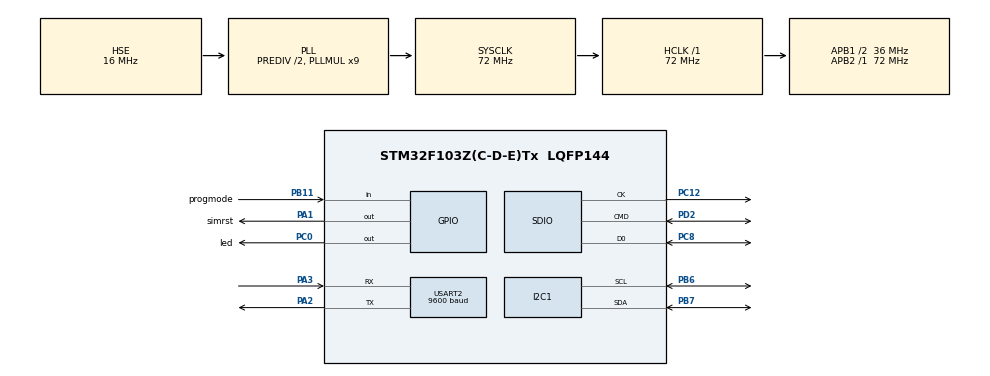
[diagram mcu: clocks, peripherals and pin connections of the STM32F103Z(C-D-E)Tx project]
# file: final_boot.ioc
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Dma.Request0=USART2_RX
Dma.Request1=USART2_TX
Dma.USART2_RX.0.Direction=DMA_PERIPH_TO_MEMORY
Dma.USART2_RX.0.Instance=DMA1_Channel6
Dma.USART2_RX.0.MemDataAlignment=DMA_MDATAALIGN_BYTE
Dma.USART2_RX.0.MemInc=DMA_MINC_ENABLE
Dma.USART2_RX.0.Mode=DMA_NORMAL
Dma.USART2_RX.0.PeriphDataAlignment=DMA_PDATAALIGN_BYTE
Dma.USART2_RX.0.PeriphInc=DMA_PINC_DISABLE
Dma.USART2_RX.0.Priority=DMA_PRIORITY_VERY_HIGH
Dma.USART2_TX.1.Direction=DMA_MEMORY_TO_PERIPH
Dma.USART2_TX.1.Instance=DMA1_Channel7
Dma.USART2_TX.1.MemDataAlignment=DMA_MDATAALIGN_BYTE
Dma.USART2_TX.1.MemInc=DMA_MINC_ENABLE
Dma.USART2_TX.1.Mode=DMA_NORMAL
Dma.USART2_TX.1.PeriphDataAlignment=DMA_PDATAALIGN_BYTE
Dma.USART2_TX.1.PeriphInc=DMA_PINC_DISABLE
Dma.USART2_TX.1.Priority=DMA_PRIORITY_VERY_HIGH
FATFS._FS_TIMEOUT=1000000
FATFS._MAX_SS=4096
IWDG.Prescaler=IWDG_PRESCALER_256
Mcu.Family=STM32F1
Mcu.Name=STM32F103Z(C-D-E)Tx
Mcu.Package=LQFP144
NVIC.DMA1_Channel6_IRQn=true\:0\:0\:false\:false\:true\:false\:true
NVIC.DMA1_Channel7_IRQn=true\:0\:0\:false\:false\:true\:false\:true
NVIC.PriorityGroup=NVIC_PRIORITYGROUP_4
NVIC.USART2_IRQn=true\:0\:0\:false\:false\:true\:true\:true
OSC_IN.Mode=HSE-External-Oscillator
OSC_IN.Signal=RCC_OSC_IN
OSC_OUT.Mode=HSE-External-Oscillator
OSC_OUT.Signal=RCC_OSC_OUT
PA1.GPIO_Label=simrst
PA1.GPIO_PuPd=GPIO_PULLDOWN
PA1.GPIO_Speed=GPIO_SPEED_FREQ_HIGH
PA1.Signal=GPIO_Output
PA13.Mode=JTAG_5_pins
PA13.Signal=SYS_JTMS-SWDIO
PA14.Mode=JTAG_5_pins
PA14.Signal=SYS_JTCK-SWCLK
PA15.Mode=JTAG_5_pins
PA15.Signal=SYS_JTDI
PA2.Mode=Asynchronous
PA2.Signal=USART2_TX
PA3.Mode=Asynchronous
PA3.Signal=USART2_RX
PB11.GPIO_Label=progmode
PB11.Signal=GPIO_Input
PB3.Mode=JTAG_5_pins
PB3.Signal=SYS_JTDO-TRACESWO
PB4.Mode=JTAG_5_pins
PB4.Signal=SYS_NJTRST
PB6.Mode=I2C
PB6.Signal=I2C1_SCL
PB7.Mode=I2C
PB7.Signal=I2C1_SDA
PC0.GPIO_Label=led
PC0.GPIO_Speed=GPIO_SPEED_FREQ_HIGH
PC0.Signal=GPIO_Output
PC12.Mode=SD_1_bit
PC12.Signal=SDIO_CK
PC8.Mode=SD_1_bit
PC8.Signal=SDIO_D0
PD2.Mode=SD_1_bit
PD2.Signal=SDIO_CMD
ProjectManager.HeapSize=0xFF0
ProjectManager.StackSize=0xFF0
ProjectManager.TargetToolchain=MDK-ARM V5.32
RCC.AHBFreq_Value=72000000
RCC.APB1CLKDivider=RCC_HCLK_DIV2
RCC.APB1Freq_Value=36000000
RCC.APB1TimFreq_Value=72000000
RCC.APB2Freq_Value=72000000
RCC.APB2TimFreq_Value=72000000
RCC.EnbaleCSS=true
RCC.HCLKFreq_Value=72000000
RCC.HSEDivPLL=RCC_HSE_PREDIV_DIV2
RCC.HSE_VALUE=16000000
RCC.PLLMUL=RCC_PLL_MUL9
RCC.PLLSourceVirtual=RCC_PLLSOURCE_HSE
RCC.SYSCLKFreq_VALUE=72000000
RCC.SYSCLKSource=RCC_SYSCLKSOURCE_PLLCLK
RCC.USBFreq_Value=72000000
SDIO.ClockDiv=7
SDIO.ClockEdge=SDIO_CLOCK_EDGE_RISING
USART2.BaudRate=9600
USART2.VirtualMode=VM_ASYNC
VP_FATFS_VS_SDIO.Mode=SDIO
VP_IWDG_VS_IWDG.Mode=IWDG_Activate
board=custom

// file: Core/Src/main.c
/* USER CODE BEGIN Header */
/**
  ******************************************************************************
  * @file           : main.c
  * @brief          : Main program body
  ******************************************************************************
  * @attention
  *
  * <h2><center>&copy; Copyright (c) 2021 STMicroelectronics.
  * All rights reserved.</center></h2>
  *
  * This software component is licensed by ST under Ultimate Liberty license
  * SLA0044, the "License"; You may not use this file except in compliance with
  * the License. You may obtain a copy of the License at:
  *                             www.st.com/SLA0044
  *
  ******************************************************************************
  */
/* USER CODE END Header */
#include "main.h"
#include "fatfs.h"

/* USER CODE BEGIN Includes */
#include <String.h>
#include <Stdio.h>
#include <Stdint.h>

#include "sim.h"
#include "lcd.h"
#include "zcrypt.h"
/* USER CODE END Includes */

/* USER CODE BEGIN PM */
FATFS fs;  // Fatfs
FIL fil1;
FIL fil2;
FILINFO fno;
FRESULT fresult;
UINT b;
/* USER CODE END PM */

I2C_HandleTypeDef hi2c1;

IWDG_HandleTypeDef hiwdg;

SD_HandleTypeDef hsd;

UART_HandleTypeDef huart2;
DMA_HandleTypeDef hdma_usart2_rx;
DMA_HandleTypeDef hdma_usart2_tx;

/* USER CODE BEGIN PV */
static FLASH_EraseInitTypeDef EraseInitStruct;	//flash working
uint64_t gAddress	=	0x0800C800;

uint8_t gTxBuf		[TxBuf_SIZE];	//USART-SIM
uint8_t gRxBuf		[RxBuf_SIZE];
uint8_t gMainBuf	[MainBuf_SIZE];

uint16_t gOldPos;
uint16_t gNewPos;

char gName[4]={0,0,0,0};	//version name

static uint32_t gTimerError	=	0; //

static uint8_t gCounterOk		=	0;
static uint8_t gCounterBad	=	0;

static uint16_t gLinesCounter	=	0;

/* USER CODE END PV */

void SystemClock_Config(void);
static void MX_GPIO_Init(void);
static void MX_IWDG_Init(void);
static void MX_DMA_Init(void);
static void MX_SDIO_SD_Init(void);
static void MX_USART2_UART_Init(void);
static void MX_I2C1_Init(void);

/* USER CODE BEGIN 0 */
FRESULT mount_SD (void)
{
	return f_mount(&fs, "a", 1);
}

FRESULT unmount_SD (void)
{
	return f_mount(NULL, "a", 1);
}

FRESULT open_File(char* name,int i)
{
	if(i==1)
	{
		return f_open(&fil1,name,FA_WRITE|FA_READ|FA_OPEN_EXISTING);
	}
	else
	{
		return f_open(&fil2,name,FA_WRITE|FA_READ|FA_OPEN_EXISTING);
	}
}

FRESULT close_File(int i)
{
	if(i==1)
	{
		return f_close(&fil1);
	}
	else
	{
		return f_close(&fil2);
	}
}

FRESULT read_File(void* data,int j,int i)
{
	if(i==1)
	{
		return f_read(&fil1, data, j,&b);
	}
	else
	{
		return f_read(&fil2, data, j,&b);
	}
}

FRESULT create_File(char* name,int i)
{
	if(i==1)
	{
		return f_open(&fil1, name,FA_CREATE_ALWAYS|FA_WRITE|FA_READ);
	}
	else
	{
		return f_open(&fil2, name,FA_CREATE_ALWAYS|FA_WRITE|FA_READ);
	}
}

void gets_File(void* buff,int i)
{
	if(i==1)
	{
		f_gets((char*)buff,100,&fil1);
		return;
	}
	if(i==2)
	{
		f_gets((char*)buff,100,&fil2);
		return;
	}
}

FRESULT write_File (void *data,int j,int i)
{
	if(i==1)
	{
		fresult = f_write(&fil1, data, j, &b);
		if(fresult==FR_OK)
		{

			return f_sync(&fil1);
		}
		else
		{
			return fresult;
		}
	}
	else
	{
		fresult = f_write(&fil2, data, j, &b);
		if(fresult==FR_OK)
		{

			return f_sync(&fil2);
		}
		else
		{
			return fresult;
		}
	}
}

FRESULT set_point_File(DWORD ofs,int i)
{
	if(i==1)
	{
		return f_lseek(&fil1,ofs);
	}
	else
	{
		return f_lseek(&fil2,ofs);
	}
}

int get_point_File(int i)
{
	if(i==1)
	{
		return (&fil1)->fptr;
	}
	else
	{
		return (&fil2)->fptr;
	}
}

FRESULT truncate_File(DWORD ofs,int i)
{
	if(i==1)
	{
		return f_truncate(&fil1);
	}
	else
	{
		return f_truncate(&fil2);
	}
}
int get_eof_File(int i)
{
	if(i==1)
	{
		int po=get_point_File(1);
		int js=po;
		while(f_eof(&fil1)==0)
		{
			set_point_File(++js,1);
		}
		set_point_File(po,1);
		return js;
	}
	else
	{
		int po=get_point_File(2);
		int js=po;
		while(f_eof(&fil2)==0)
		{
			set_point_File(++js,2);
		}
		set_point_File(po,2);
		return js;
	}
}

void HAL_UARTEx_RxEventCallback(UART_HandleTypeDef *huart, uint16_t Size)
{
	if (huart->Instance == USART2)
	{
		gOldPos = gNewPos;  // Update the last position before copying new data

		/* If the data in large and it is about to exceed the buffer size, we have to route it to the start of the buffer
		 * This is to maintain the circular buffer
		 * The old data in the main buffer will be overlapped
		 */
		if (gOldPos+Size > MainBuf_SIZE)  // If the current position + new data size is greater than the main buffer
		{
			uint16_t datatocopy = MainBuf_SIZE-gOldPos;  // find out how much space is left in the main buffer
			memcpy ((uint8_t *)gMainBuf+gOldPos,gRxBuf, datatocopy);  // copy data in that remaining space

			gOldPos = 0;  // point to the start of the buffer
			memcpy ((uint8_t *)gMainBuf, (uint8_t *)gRxBuf+datatocopy, (Size-datatocopy));  // copy the remaining data
			gNewPos = (Size-datatocopy);  // update the position
		}

		/* if the current position + new data size is less than the main buffer
		 * we will simply copy the data into the buffer and update the position
		 */
		else
		{
			memcpy ((uint8_t *)gMainBuf+gOldPos,gRxBuf, Size);
			gNewPos = Size+gOldPos;
		}

		/* start the DMA again */
		HAL_UARTEx_ReceiveToIdle_DMA(&huart2,(uint8_t *)gRxBuf, RxBuf_SIZE);
		__HAL_DMA_DISABLE_IT(&hdma_usart2_rx, DMA_IT_HT);
	}
}

void flash_lock(void)
{
	FLASH_OBProgramInitTypeDef OptionsBytesStruct;
  HAL_FLASHEx_OBGetConfig(&OptionsBytesStruct);
  FLASH_OBProgramInitTypeDef FLASH_RDP;
	HAL_FLASH_Unlock();

	HAL_FLASH_OB_Unlock();
	if(OptionsBytesStruct.RDPLevel == OB_RDP_LEVEL1)
	{
		goto aa;
	}

	FLASH_RDP.RDPLevel = OB_RDP_LEVEL1;

	FLASH_RDP.OptionType = OPTIONBYTE_RDP;

	HAL_FLASHEx_OBProgram(&FLASH_RDP);

	HAL_FLASH_OB_Launch();
	aa:
	HAL_FLASH_OB_Lock();

	HAL_FLASH_Lock();
}

void flash_update(char* st)
{
	char a0[2]={0},a1[2]={0},a2[50]={0};
	int len=0;
	uint64_t tem=0x00;

	a0[0]=st[1];//data len
	a0[1]=st[2];
	a1[0]=st[7];//data type
	a1[1]=st[8];

	for(int i=0;i<32;i++)
	{
		a2[i]=st[i+9];//data
	}

	len=0;

	if(a0[0]>='0'&&a0[0]<='9')
	{
		len+=16*16*16*(a0[0]-'0');
	}
	else if(a0[0]>='A'&&a0[0]<='F')
	{
		len+=16*16*16*(10+a0[0]-'A');
	}

	if(a0[0]>='0'&&a0[0]<='9')
	{
		len+=16*16*16*(a0[0]-'0');
	}
	else if(a0[0]>='A'&&a0[0]<='F')
	{
		len+=16*16*16*(10+a0[0]-'A');
	}

	for(int q=0;q<8;q++)
	{
		if((strstr(a1,"00")!=NULL) && (len>0))
		{
			tem=0x00;

			if(a2[4*q+3]>='0'&&a2[4*q+3]<='9')
			{
				tem+=16*16*(a2[4*q+3]-'0');
			}
			else if(a2[4*q+3]>='A'&&a2[4*q+3]<='F')
			{
				tem+=16*16*(10+a2[4*q+3]-'A');
			}

			if(a2[4*q+2]>='0'&&a2[4*q+2]<='9')
			{
				tem+=16*16*16*(a2[4*q+2]-'0');
			}
			else if(a2[4*q+2]>='A'&&a2[4*q+2]<='F')
			{
				tem+=16*16*16*(10+a2[4*q+2]-'A');
			}

			if(a2[4*q+1]>='0'&&a2[4*q+1]<='9')
			{
				tem+=(a2[4*q+1]-'0');
			}
			else if(a2[4*q+1]>='A'&&a2[4*q+1]<='F')
			{
				tem+=(10+a2[4*q+1]-'A');
			}

			if(a2[4*q]>='0'&&a2[4*q]<='9')
			{
				tem+=16*(a2[4*q]-'0');
			}
			else if(a2[4*q]>='A'&&a2[4*q]<='F')
			{
				tem+=16*(10+a2[4*q]-'A');
			}

			HAL_FLASH_Program(FLASH_TYPEPROGRAM_HALFWORD,gAddress,(uint64_t)tem);
			gAddress+=2;
			HAL_IWDG_Refresh(&hiwdg);
		}
		else
		{
			break;
		}
	}
}
void decrypt(char *data1,char *data2,int j)
{

	#define padlen 4
	uint8_t data[100]={0};
	memcpy(data, data1, 100); /* to not mess with original data, this will be sent to encrypt function */
	uint8_t iv[AES_IV_SIZE] = "hellofucker1065o";               /* or any random filled buffer */
	uint8_t key[AES_KEYLEN] = "hellofucker1065o";      /* fill with your key */

    uint8_t buff[100] = {0};          /* large enough to be filled with data + padding (maximum 16 bytes) */
    memcpy(buff, data, sizeof(data)); /* to not mess with original data, this will be sent to encrypt function */
    AES_ctx_t ctx;
    AES_init_ctx_iv(&ctx, key, iv); /* every time using a encrypt or decrypt, creadfromsd must be initialized */
    AES_CBC_decrypt_buffer(&ctx, buff, sizeof(data) + padlen);
		if(j==1||j==2)
		{
			printf("After Decrypt : ");
		}
    for (size_t i = 0; i < sizeof(data) + padlen; ++i)
    {
			if(j==1)
			{
				printf("[0x%02X]", buff[i]);
			}
			else if(j==2)
			{
				printf("%c", buff[i]);
			}
			else
			{
				break;
			}
    }
		if(j==1||j==2)
		{
			printf("\r\n");
		}

//    int32_t data_len = pkcs7_data_length(buff, sizeof(data) + padlen, AES_BLOCKLEN);
		int data_len=44;

    if (data_len > 0)
    {
        uint8_t original[100] = {0}; /* large enough */
        memcpy(original, buff, data_len);
				if(j==1||j==2)
				{
					printf("Original Data : ");
				}
        for (size_t i = 0; i < data_len; ++i)
        {
					if(j==1)
					{
						printf("[0x%02X]", original[i]);
					}
					else if(j==2)
					{
						printf("%c", original[i]);
					}
					else
					{
						break;
					}
        }
				if(j==1||j==2)
				{
					printf("\r\n");
				}
				strcpy(data2,(char*)original);
    }
    else
    {
			if(j==1||j==2)
			{
				printf("received buffer is not correctly padded.\r\n");
			}
    }
}

void deinitEverything(void)
{
	//-- reset peripherals to guarantee flawless start of user application
	HAL_GPIO_DeInit(GPIOA, GPIO_PIN_8);
	HAL_GPIO_DeInit(GPIOA, GPIO_PIN_4);
	__HAL_RCC_GPIOC_CLK_DISABLE();
	__HAL_RCC_GPIOB_CLK_DISABLE();
	__HAL_RCC_GPIOA_CLK_DISABLE();
	HAL_NVIC_DisableIRQ(SysTick_IRQn);
	SysTick->CTRL &= ~SysTick_CTRL_ENABLE_Msk;
	HAL_I2C_DeInit(&hi2c1);
	HAL_UART_DeInit(&huart2);
	HAL_SD_DeInit(&hsd);
	HAL_DMA_DeInit(&hdma_usart2_rx);
	HAL_DMA_DeInit(&hdma_usart2_tx);
	HAL_RCC_DeInit();
	HAL_DeInit();
	SysTick->CTRL = 0;
	SysTick->LOAD = 0;
	SysTick->VAL = 0;
}

void jump_to(const uint32_t addr)
{
	deinitEverything();
	void (*main_application)(void);
	uint32_t msp = *(volatile uint32_t*)addr;
	main_application = (void*)(*(volatile uint32_t*)(addr + 4));
	__set_MSP(msp);
	main_application();
}

int ind(char* a1,char* a2)
{
	char *found;
	found=strstr(a1,a2);
	if(found)
	{
		return (int)(found-a1);
	}
	else
	{
		return -1;
	}
 }

 int check(uint8_t* st)
{
	char Var=0, Checksum=0,Comp=0;
	char tm1[40]={0};	//data without checksum
	char tm2[2]={0};	//checksum
	char tm3[2]={0};	//checksum sum

	for(int p=0;p<40;p++)
	{
		tm1[p]=st[p+1];
	}
	tm2[0]=st[41];
	tm2[1]=st[42];
	if(tm2[1]>='0'&&tm2[1]<='9')
	{
		if((tm2[0]>='0'&&tm2[0]<='9'))
		{
			Var=tm2[1]-'0';
			Var+=16*(tm2[0]-'0');
		}
		else if(tm2[0]>='A'&&tm2[0]<='F')
		{
			Var=tm2[1]-'0';
			Var+=16*(tm2[0]-'A'+10);
		}
		else
		{
			return -1;
		}
	}
	else if(tm2[1]>='A'&&tm2[1]<='F')
	{
		if((tm2[0]>='0'&&tm2[0]<='9'))
		{
			Var=tm2[1]-'A'+10;
			Var+=16*(tm2[0]-'0');
		}
		else if(tm2[0]>='A'&&tm2[0]<='F')
		{
			Var=tm2[1]-'A'+10;
			Var+=16*(tm2[0]-'A'+10);
		}
		else
		{
			return -1;
		}
	}
	for(int p=0;p<20;p++)
	{
		tm3[0]=tm1[2*p];
		tm3[1]=tm1[2*p+1];
		if(tm3[1]>='0'&&tm3[1]<='9')
		{
			if((tm3[0]>='0'&&tm3[0]<='9'))
			{
				Checksum+=tm3[1]-'0';
				Checksum+=16*(tm3[0]-'0');
			}
			else if(tm3[0]>='A'&&tm3[0]<='F')
			{
				Checksum+=tm3[1]-'0';
				Checksum+=16*(tm3[0]-'A'+10);
			}
			else
			{
				return -1;
			}
		}
		else
		{
			if((tm3[0]>='0'&tm3[0]<='9'))
			{
				Checksum+=tm3[1]-'A'+10;
				Checksum+=16*(tm3[0]-'0');
			}
			else if(tm3[0]>='A'&&tm3[0]<='F')
			{
				Checksum+=tm3[1]-'A'+10;
				Checksum+=16*(tm3[0]-'A'+10);
			}
			else
			{
				return -1;
			}
		}
	}
	Comp=-Var;
	if(Checksum==Comp)
	{
		return 1;
	}
	else
	{
		return -1;
	}
}
/* USER CODE END 0 */

int main(void)
{

  /* MCU Configuration--------------------------------------------------------*/

  /* Reset of all peripherals, Initializes the Flash interface and the Systick. */
  HAL_Init();

  /* Configure the system clock */
  SystemClock_Config();

  /* Initialize all configured peripherals */
  MX_GPIO_Init();
  MX_IWDG_Init();
  MX_DMA_Init();
  MX_SDIO_SD_Init();
  MX_FATFS_Init();
  MX_USART2_UART_Init();
  MX_I2C1_Init();
  /* USER CODE BEGIN 2 */
	flash_lock();

	uart_sendstring_pc("BOOT PROG\r\n");

	lcd_init();
	lcd_init();
	HAL_Delay(100);
	lcd_send_string("BootLoader");
	HAL_Delay(500);
	lcd_clear();
	HAL_Delay(100);
	lcd_send_string("BootLoader");
	HAL_Delay(500);
	lcd_clear();

	HAL_FLASH_Unlock();

	char ve[4]={0};

	ve[0]	=*	(uint16_t*)(0x0800c400);
	ve[1]	=*	(uint16_t*)(0x0800c402);
	ve[2]	=*	(uint16_t*)(0x0800c404);
	ve[3]	=*	(uint16_t*)(0x0800c406);
	HAL_FLASH_Lock();

	if(mount_SD()!=	FR_OK)
	{
		lcd_send_string("No SD Card Found");
		HAL_Delay(2000);
		lcd_clear();
		NVIC_SystemReset();
	}

	lcd_send_string("SD Card Found");
	HAL_Delay(2000);
	lcd_clear();

	if(HAL_GPIO_ReadPin(progmode_GPIO_Port,progmode_Pin)	==	GPIO_PIN_SET)
	{
		lcd_send_string("Auto Mode:      ");

		HAL_UARTEx_ReceiveToIdle_DMA(&huart2, (uint8_t *) gRxBuf, RxBuf_SIZE);
		__HAL_DMA_DISABLE_IT(&hdma_usart2_rx, DMA_IT_HT);

		fresult	=	open_File("updatea.txt",	1);
		if(fresult	!=	FR_OK)
		{
			fresult=create_File("updatea.txt",	1);
			if(fresult	!=	FR_OK)
			{
				HAL_Delay(100);
				NVIC_SystemReset();
			}
		}

		lcd_put_cur(1, 0);
		lcd_send_string("Sim Starting    ");
		HAL_Delay(1000);

		for(int i	=	0	,	y	=	0;	i	<5	;	i++)
		{
			y	=	simstart();
			if(y	==	1)
			{
				lcd_put_cur(1, 0);
				lcd_send_string("Sim Started!    ");
				HAL_Delay(1000);
				break;
			}

			HAL_Delay(500);
			uartflush();

			if(i	==	4)
			{
				if(y	!=	1)
				{
					lcd_put_cur(1, 0);
					lcd_send_string("Going To Func!  ");
					HAL_Delay(1000);
					close_File(1);
					goto Func;
				}
			}
		}

		lcd_put_cur(1, 0);
		lcd_send_string("U Server Conning");
		HAL_Delay(1000);

		for(int i	=	0	,	y	=	0;	i	<	6;	i++)
		{
			if(i	<	3)
			{
				y	=	srevercon("turk.expressvpn.monster",	"2841");
			}
			else
			{
				y	=	srevercon("213.239.213.207",	"2841");
				//y=srevercon("212.64.214.25",	"2841");
			}

			if(y	==	1)
			{
				lcd_put_cur(1, 0);
				lcd_send_string("U Server Conned!");
				HAL_Delay(1000);
				break;
			}

			HAL_Delay(1000);
			uartflush();
			if(i	==	5)
			{
				if(y	!=	1)
				{
					lcd_put_cur(1, 0);
					lcd_send_string("U Server Problem");
					HAL_Delay(1000);
					lcd_put_cur(1, 0);
					lcd_send_string("Going To Func!  ");
					HAL_Delay(1000);
					close_File(1);
					goto Func;
				}
			}
		}

		gTimerError	=	HAL_GetTick();

		while(1)
		{
			if(waitfor("send master id")	==	1)
			{
				lcd_put_cur(1, 0);
				lcd_send_string("send master id  ");

				uartflush();
				simsend("master id",0);
				while(strstr((char*)gMainBuf,"SEND OK")	==	NULL);
				gTimerError	=	HAL_GetTick();
			}

			if(waitfor("send atentication information")	==	1)
			{
				lcd_put_cur(1, 0);
				lcd_send_string("send atenti info");

				uartflush();
				simsend("username:user , password:pass",	0);

				while(strstr((char*)gMainBuf,"SEND OK")	==	NULL);

				gTimerError	=	HAL_GetTick();
			}

			if(waitfor("software version?")	==	1)
			{
				lcd_put_cur(1, 0);
				lcd_send_string("softwareversion?");

				uartflush();
				char tmep[3];
				sprintf(tmep,	"%c%c%c",	ve[0]+'0',	ve[1]+'0',	ve[2]+'0');
				if(ve[3]	==	1)
				{
					simsend(tmep,0);
					while(strstr((char*)gMainBuf,"SEND OK")	==	NULL);
				}
				else
				{
					simsend("no version",0);
					while(strstr((char*)gMainBuf,"SEND OK")	==	NULL);
				}
				gTimerError	=	HAL_GetTick();
			}

			if((HAL_GetTick()-gTimerError)	>	10000)
			{
				lcd_put_cur(1, 0);
				lcd_send_string("Timeout 1       ");
				HAL_Delay(2000);
				lcd_put_cur(1, 0);
				lcd_send_string("Going To Func!  ");
				HAL_Delay(1000);
				close_File(1);
				goto Func;
			}

			if(waitfor("dont need update")	==	1)
			{
				lcd_put_cur(1, 0);
				lcd_send_string("Dont Need Update");
				HAL_Delay(2000);
				goto ass2;
			}

			if(waitfor("CLOSED")	==	1)
			{
				lcd_put_cur(1, 0);
				lcd_send_string("TCP has Closed 1");
				HAL_Delay(2000);
				lcd_put_cur(1, 0);
				lcd_send_string("Going To Func!  ");
				HAL_Delay(1000);
				close_File(1);
				goto Func;
			}

			if(waitfor("version=")	==	1)
			{
				lcd_put_cur(1, 0);
				lcd_send_string("softwareversion=");

				int lx	=	ind((char*)gMainBuf,"version=")+7;

				gName[0]	=	gMainBuf[lx+1];
				gName[1]	=	gMainBuf[lx+2];
				gName[2]	=	gMainBuf[lx+3];

				truncate_File	(0,	1);
				set_point_File(0,	1);

				write_File(gName,	3,	1);
				write_File("0",		1,	1);
				write_File("\n",	1,	1);

				uartflush();
				simsend("data recived sucsessfully",0);
				while(strstr((char*)gMainBuf,"SEND OK")==NULL);

				break;
			}
		}

		gTimerError	=	HAL_GetTick();

		while(1)
		{
			HAL_Delay(100);
			if(waitfor("CLOSED")	==	1)
			{
				lcd_put_cur(1, 0);
				lcd_send_string("TCP has Closed 2");
				HAL_Delay(1000);
				lcd_put_cur(1, 0);
				lcd_send_string("Going To Func!  ");

				close_File(1);
				goto Func;
			}

//			if(HAL_GetTick()-gTimerError>5000)
//			{
//				uartflush();
//				while(strstr((char*)gMainBuf,"Send OK")==NULL)
//				{
//					simsend("no data",0);
//					HAL_Delay(3000);
//				}
//
//				uartflush();
//				gTimerError=HAL_GetTick();
//			}

			if(waitfor("sending all data sucsessfully")	==	1)
			{
				lcd_put_cur(1, 0);
				lcd_send_string("Recieve Is Done ");
				HAL_Delay(2000);
				uartflush();
				break;
			}

			if((strstr((char*)gMainBuf,"begin")	!=	NULL)	&&	(strstr((char*)gMainBuf,"end")	!=	NULL))
			{
				int flag	=	0;

				char tmp2	[MainBuf_SIZE];	//update server
				char tmp3	[200];	//hex line
				char tmp4	[200];	//decrypted hex line

				int in	=	ind((char*)gMainBuf,"begin")+5;

				for(int l	=	in;	l	<=	strlen((char*)gMainBuf);	l++)
				{
					tmp2[l-in]	=	(char)gMainBuf[l];
				}

				while(1)
				{
					static uint16_t l		=	0;
					uint16_t 				len	=	0;

					memset(tmp3,	0,	200);
					memset(tmp4,	0,	200);

					while(1)
					{
						tmp3[len++]	=	tmp2[l++];

						if(strstr(tmp3,	"next\n")	!=	NULL)
						{
							break;
						}

						if(strstr(tmp3,	"end")	!=	NULL)
						{
							l	=	0;
							break;
						}
					}

					if(strstr(tmp3,	"end")	!=	NULL)
					{
						l	=	0;
						break;
					}
					if(strstr(tmp3,	"NULL")	==	NULL)
					{
						char tmp5[30];
						memset(tmp5,	0,	30);

						int len2	=	strlen(tmp3)	-	5;

						for(int l1	=	52;	l1	<	len;	l1++)
						{
							tmp5[l1-52]	=	tmp3[l1];
						}

						for(int l2	=	0;	l2	<	strlen(tmp5);	l2++)
						{
							int y	=	0;

							if((tmp5[4*l2+2]>='0')	&&	(tmp5[4*l2+2]<='9')	&&	(tmp5[4*l2+1]>='0')	&&	(tmp5[4*l2+1]<='9'))
							{

								y	=				tmp5[4*l2+2]-'0';
								y	+=	10*(tmp5[4*l2+1]-'0');

								if((uint8_t)tmp3[y]	==	0xFF)
								{
									tmp3[y]	=	0;
								}
							}
						}
					}

					decrypt(tmp3,	tmp4,	-1);

					if(check((uint8_t*)tmp4)	!=	1)
					{
						l	=	0;
						flag	=	-1;
						break;
					}
				}

				if(flag	==	0)
				{
					int e	=	strlen((char*)tmp2)	-	3;
					int w	=	get_point_File(1);

					while(get_point_File(1)	-	w	<	e)
					{
						fresult = set_point_File(w,	1);

						fresult = write_File(tmp2,	e,	1);

						HAL_Delay(100);
					}

					uartflush();
					simsend("data recived sucsessfully",0);

					while(strstr((char*)gMainBuf,"SEND OK")	==	NULL);

					char lcdtmp[16];
					sprintf(lcdtmp,	" Good:%02d  Bad:%01d ",	++gCounterOk,	gCounterBad);

					lcd_put_cur(1, 0);
					lcd_send_string(lcdtmp);
				}
				else if(flag	==	-1)
				{
					uartflush();
					simsend("data recived bad",0);
					while(strstr((char*)gMainBuf,"SEND OK")	==	NULL);

					char lcdtmp[16];
					sprintf(lcdtmp,	" Good:%02d  Bad:%01d ",	gCounterOk,	++gCounterBad);
					lcd_put_cur(1, 0);
					lcd_send_string(lcdtmp);
				}
				gTimerError	=	HAL_GetTick();
			}
		}

		lcd_put_cur(1, 0);
		lcd_send_string("Writing to Flash");

		set_point_File(0,	1);

		write_File(gName,	3,	1);
		write_File("1"	,	1,	1);
		write_File("\n"	,	1,	1);

		automatic:
		gLinesCounter	=	0;

		gTimerError	=	HAL_GetTick();

		HAL_FLASH_Unlock();

		EraseInitStruct.TypeErase   = FLASH_TYPEERASE_PAGES;
		EraseInitStruct.PageAddress = 0x0800C400;
		EraseInitStruct.NbPages     = 1;
		uint32_t PAGEError;
		HAL_FLASHEx_Erase(&EraseInitStruct, &PAGEError);

		HAL_FLASH_Program(FLASH_TYPEPROGRAM_HALFWORD,	0x0800C400,	(uint64_t)gName[0]-'0');
		HAL_FLASH_Program(FLASH_TYPEPROGRAM_HALFWORD,	0x0800C402,	(uint64_t)gName[1]-'0');
		HAL_FLASH_Program(FLASH_TYPEPROGRAM_HALFWORD,	0x0800C404,	(uint64_t)gName[2]-'0');
		HAL_FLASH_Program(FLASH_TYPEPROGRAM_HALFWORD,	0x0800C406,	(uint64_t)0);

		EraseInitStruct.TypeErase   = FLASH_TYPEERASE_PAGES;
		EraseInitStruct.PageAddress = gAddress;
		EraseInitStruct.NbPages     = 100;
		HAL_FLASHEx_Erase(&EraseInitStruct, &PAGEError);

		char	readfromsd			[200];	//decrypt
		char 	writetoflash		[200];
		char 	writetoflash2		[200];
		char 	linefromsd			[200];
		char 	tmp							[30];

		while(1)
		{
			HAL_IWDG_Refresh(&hiwdg);

			memset(writetoflash	,	0,	200);
			memset(writetoflash2,	0,	200);
			memset(linefromsd		,	0,	200);
			memset(tmp					,	0,	30);

			while(1)
			{
				memset(readfromsd,	0,	200);
				gTimerError	=	HAL_GetTick();
				while(1)
				{
					char u[2]	=	{0,	0};
					read_File(u,	1,	1);
					strcat(readfromsd,	u);

					if((u[0]==0x0A)	||	(u[0]==0x00))
					{
						break;
					}

					if(HAL_GetTick()	-	gTimerError	>	100)
					{
						goto ass;
					}
				}
				if(strlen(readfromsd)	==	NULL)
				{
					break;
				}

				strcat(linefromsd,	readfromsd);

				if(strstr(linefromsd,"next\n")	!=	NULL)
				{
						break;
				}
			}

			if(strlen(linefromsd)	<	40)
			{
				goto ass;
			}

			if(strstr(linefromsd,"NULL")	==	NULL)
			{
				int len	=	strlen(linefromsd)	-	5;

				for(int l	=	52;	l	<	len;	l++)
				{
					tmp[l-52]	=	linefromsd[l];
				}

				for(int l	=	0;	l	<	strlen(tmp);	l++)
				{
					int y	=	0;

					if(tmp[4*l+2]>='0'	&&	tmp[4*l+2]<='9'	&&	tmp[4*l+1]>='0'	&&	tmp[4*l+1]<='9')
					{
						y	=		tmp[4*l+2]-'0';
						y	+=	10*(tmp[4*l+1]-'0');

						if((uint8_t)linefromsd[y]	==	0xFF)
						{
							linefromsd[y]	=	0;
						}
					}
				}
			}

			decrypt(linefromsd,	writetoflash,	0);

			if(check((uint8_t*)writetoflash)	!=	1)
			{
				lcd_put_cur(1, 0);
				lcd_send_string("Error in File  !");
				printf("error in updatea\n");
				goto manual;
			}

			flash_update(writetoflash);

			gLinesCounter++;
		}
		ass:
		EraseInitStruct.TypeErase   = FLASH_TYPEERASE_PAGES;
		EraseInitStruct.PageAddress = 0x0800C400;
		EraseInitStruct.NbPages     = 1;
		HAL_FLASHEx_Erase(&EraseInitStruct, &PAGEError);

		HAL_FLASH_Program(FLASH_TYPEPROGRAM_HALFWORD,	0x0800C400,	(uint64_t)gName[0]-'0');
		HAL_FLASH_Program(FLASH_TYPEPROGRAM_HALFWORD,	0x0800C402,	(uint64_t)gName[1]-'0');
		HAL_FLASH_Program(FLASH_TYPEPROGRAM_HALFWORD,	0x0800C404,	(uint64_t)gName[2]-'0');
		HAL_FLASH_Program(FLASH_TYPEPROGRAM_HALFWORD,	0x0800C406,	(uint64_t)1);
		HAL_FLASH_Lock();
		close_File(1);
		ass2:
		unmount_SD();
		HAL_IWDG_Refresh(&hiwdg);

		lcd_put_cur(1, 0);
		lcd_send_string("Flash Write done");
		HAL_Delay(2000);
		lcd_put_cur(1, 0);
		lcd_send_string("Jumping To Flash");
		HAL_Delay(1000);

		jump_to(0x0800C800);
	}

	else if(HAL_GPIO_ReadPin(progmode_GPIO_Port,progmode_Pin)	==	GPIO_PIN_RESET)
	{
		lcd_put_cur(0, 0);
		lcd_send_string("Manual Mode:    ");

		manual:

		gLinesCounter=0;
		while(open_File("updatem.txt",1)	!=	FR_OK)
		{
			lcd_put_cur(1, 0);
			lcd_send_string("No updatem.txt !");
			HAL_Delay(10);
			HAL_NVIC_SystemReset();
		}

		lcd_put_cur(1, 0);
		lcd_send_string("File Found      ");

		gets_File(gName,1);

		if(gName[3]	!=	'1')
		{
			lcd_put_cur(1, 0);
			lcd_send_string("File is Not OK !");
			HAL_Delay(2000);
			lcd_put_cur(1, 0);
			lcd_send_string("Going To Func!  ");
			goto Func;
		}

		int ver1	=	0;
		int ver2	=	0;

		if(*(uint16_t*)(0x0800C406)	==	1)
		{
			ver1	+=	100*(*(uint16_t*)(0x0800C400));
			ver1	+=	10*	(*(uint16_t*)(0x0800C402));
			ver1	+=			 *(uint16_t*)(0x0800C404);
		}

		ver2	+=	100*(gName[0]-'0');
		ver2	+=	10*	(gName[1]-'0');
		ver2	+=			(gName[2]-'0');

		if(ver1	==	ver2)
		{
			lcd_put_cur(0, 0);
			lcd_send_string("Jumping On Flash");
			goto ass2;
		}

		lcd_put_cur(1, 0);
		lcd_send_string("File is OK !    ");
		HAL_Delay(2000);
		lcd_put_cur(1, 0);
		lcd_send_string("Writing To Flash");
		HAL_IWDG_Refresh(&hiwdg);

		HAL_FLASH_Unlock();
		EraseInitStruct.TypeErase   = FLASH_TYPEERASE_PAGES;
		EraseInitStruct.PageAddress = 0x0800C400;
		EraseInitStruct.NbPages     = 1;
		uint32_t PAGEError;
		HAL_FLASHEx_Erase(&EraseInitStruct, &PAGEError);

		HAL_FLASH_Program(FLASH_TYPEPROGRAM_HALFWORD,	0x0800C400,	(uint64_t)gName[0]);
		HAL_FLASH_Program(FLASH_TYPEPROGRAM_HALFWORD,	0x0800C402,	(uint64_t)gName[1]);
		HAL_FLASH_Program(FLASH_TYPEPROGRAM_HALFWORD,	0x0800C404,	(uint64_t)gName[2]);
		HAL_FLASH_Program(FLASH_TYPEPROGRAM_HALFWORD,	0x0800C406,	(uint64_t)0);

		EraseInitStruct.TypeErase   = FLASH_TYPEERASE_PAGES;
		EraseInitStruct.PageAddress = gAddress;
		EraseInitStruct.NbPages     = 100;
		HAL_FLASHEx_Erase(&EraseInitStruct, &PAGEError);

		char	readfromsd			[200];	//decrypt
		char 	writetoflash		[200];
		char 	writetoflash2		[200];
		char 	linefromsd			[200];
		char 	tmp							[30];

		while(1)
		{
			HAL_IWDG_Refresh(&hiwdg);

			memset(writetoflash,	0,	200);
			memset(tmp,						0,	30);
			memset(writetoflash2,	0,	200);
			memset(linefromsd,		0,		200);

			while(1)
			{
				memset(readfromsd,0,200);

				gTimerError	=	HAL_GetTick();

				while(1)
				{
					char u[2]	=	{0,	0};

					read_File(u,	1,	1);
					strcat(readfromsd,	u);

					if((u[0]	==	0x0A)	||	(u[0]	==	0x00))
					{
						break;
					}

					if((HAL_GetTick()-gTimerError)	>	100)
					{
						goto as;
					}
				}

				if(strlen(readfromsd)	==	NULL)
				{
					break;
				}

				strcat(linefromsd,readfromsd);

				if(strstr(linefromsd,"next")	!=	NULL)
				{

						break;
				}
			}

			if(strlen(linefromsd)	<	50)
			{
				HAL_Delay(100);
				goto as;
			}

			if(strstr(linefromsd,	"NULL")	==	NULL)
			{
				int len	=	strlen(linefromsd)	-	5;

				for(int l	=	52;	l	<	len;	l++)
				{
					tmp[l-52]	=	linefromsd[l];
				}
				for(int l	=	0;	l	<	strlen(tmp);	l++)
				{
					int y=0;
					if((tmp[4*l+2]>='0')	&&	(tmp[4*l+2]<='9')	&&	(tmp[4*l+1]>='0')	&&	(tmp[4*l+1]<='9'))
					{
						y	=		tmp[4*l+2]-'0';
						y	+=	10	*	(tmp[4*l+1]-'0');

						if((uint8_t)linefromsd[y]	==	0xFF)
						{
							linefromsd[y]=0;
						}
					}
				}
			}

			decrypt(linefromsd,writetoflash,0);

			if(check((uint8_t*)writetoflash)	!=	1)
			{
				lcd_put_cur(1, 0);
				lcd_send_string("Error in File  !");
				printf("error in updatem\n");
				goto automatic;
			}

			flash_update(writetoflash);
			gLinesCounter++;
		}

		as:
		EraseInitStruct.TypeErase   = FLASH_TYPEERASE_PAGES;
		EraseInitStruct.PageAddress = 0x0800C400;
		EraseInitStruct.NbPages     = 1;
		HAL_FLASHEx_Erase(&EraseInitStruct, &PAGEError);

		HAL_FLASH_Program(FLASH_TYPEPROGRAM_HALFWORD,	0x0800C400,	(uint64_t)gName[0]-'0');
		HAL_FLASH_Program(FLASH_TYPEPROGRAM_HALFWORD,	0x0800C402,	(uint64_t)gName[1]-'0');
		HAL_FLASH_Program(FLASH_TYPEPROGRAM_HALFWORD,	0x0800C404,	(uint64_t)gName[2]-'0');
		HAL_FLASH_Program(FLASH_TYPEPROGRAM_HALFWORD,	0x0800C406,	(uint64_t)1);
		HAL_FLASH_Lock();
		close_File(1);
		unmount_SD();
		HAL_IWDG_Refresh(&hiwdg);

		lcd_put_cur(1, 0);
		lcd_send_string("Flash Write done");
		HAL_Delay(2000);
		lcd_put_cur(1, 0);
		lcd_send_string("Jumping To Flash");
		HAL_Delay(1000);

		jump_to(0x0800C800);
	}

	Func:

	lcd_put_cur(0, 0);
	lcd_send_string("Function Part   ");

	HAL_FLASH_Unlock();

	int y	=	*(uint16_t*)(0x0800C000);

	EraseInitStruct.TypeErase   = FLASH_TYPEERASE_PAGES;
	EraseInitStruct.PageAddress = 0x0800C000;
	EraseInitStruct.NbPages     = 1;
	uint32_t PAGEError;
	HAL_FLASHEx_Erase(&EraseInitStruct, &PAGEError);
	if(y	==	65535)
	{
		HAL_FLASH_Program(FLASH_TYPEPROGRAM_HALFWORD,0x0800C000,(uint64_t)0);
	}
	else if(y	!=	65535)
	{
		y++;
		HAL_FLASH_Program(FLASH_TYPEPROGRAM_HALFWORD,0x0800C000,(uint64_t)y);
	}
	HAL_FLASH_Lock();

	if(y<5)
	{
		HAL_NVIC_SystemReset();
	}
	else if(y	>=	5)
	{
		int 	ver1	=	0;
		int	 	ver2	=	0;
		int 	ver3	=	0;

		char 	fileVer1[100];
		char 	fileVer2[100];

		open_File("updatea.txt",1);
		gets_File(fileVer1,1);

		open_File("updatem.txt",2);
		gets_File(fileVer2,2);

		if(*(uint16_t*)(0x0800C406)	==	1)
		{
			ver1	+=	100*(*(uint16_t*)(0x0800C400));
			ver1	+=	10*	(*(uint16_t*)(0x0800C402));
			ver1	+=			 *(uint16_t*)(0x0800C404);
		}

		if(fileVer1[3]==1	||	fileVer1[3]=='1')
		{
			ver2	+=	100*(fileVer1[0]-'0');
			ver2	+=	10*	(fileVer1[1]-'0');
			ver2	+=			(fileVer1[2]-'0');
		}

		if(fileVer2[3]==1	||	fileVer2[3]=='1')
		{
			ver3	+=	100*(fileVer2[0]-'0');
			ver3	+=	10*	(fileVer2[1]-'0');
			ver3	+=			(fileVer2[2]-'0');
		}

		if(ver1	>	ver2)
		{
			if(ver1	>=	ver3)
			{
				close_File(1);
				close_File(2);
				lcd_put_cur(0, 0);
				lcd_send_string("Jumping On Flash");
				goto ass2;
			}
			else if(ver1	<	ver3)
			{
				close_File(1);
				close_File(2);

				lcd_put_cur(0, 0);
				lcd_send_string("Func -> Manual  ");

				goto manual;
			}
		}
		else if(ver1	<=	ver2)
		{
			if(ver2	>=	ver3)
			{
				close_File(2);
				gName[0]	=	ver2	/	100;
				gName[1]	=	ver2	/	10;
				gName[2]	=	ver2	%	10;

				lcd_put_cur(0, 0);
				lcd_send_string("Func -> Auto    ");

				goto automatic;
			}
			else if(ver2	<	ver3)
			{
				close_File(1);
				close_File(2);

				lcd_put_cur(0, 0);
				lcd_send_string("Func -> Manual  ");

				goto manual;
			}
		}
	}
  /* USER CODE END 2 */

  /* Infinite loop */
  /* USER CODE BEGIN WHILE */
  while (1)
  {
		HAL_IWDG_Refresh(&hiwdg);
		HAL_GPIO_TogglePin(led_GPIO_Port,led_Pin);
		HAL_Delay(60);
		HAL_GPIO_TogglePin(led_GPIO_Port,led_Pin);
		HAL_Delay(1000);
		HAL_GPIO_TogglePin(led_GPIO_Port,led_Pin);
		HAL_Delay(500);
		HAL_GPIO_TogglePin(led_GPIO_Port,led_Pin);
		HAL_Delay(800);
		HAL_GPIO_TogglePin(led_GPIO_Port,led_Pin);
		HAL_Delay(100);
		HAL_GPIO_TogglePin(led_GPIO_Port,led_Pin);
		HAL_Delay(50);
    /* USER CODE END WHILE */

  }
}

void SystemClock_Config(void)
{
  RCC_OscInitTypeDef RCC_OscInitStruct = {0};
  RCC_ClkInitTypeDef RCC_ClkInitStruct = {0};

  /** Initializes the RCC Oscillators according to the specified parameters
  * in the RCC_OscInitTypeDef structure.
  */
  RCC_OscInitStruct.OscillatorType = RCC_OSCILLATORTYPE_LSI|RCC_OSCILLATORTYPE_HSE;
  RCC_OscInitStruct.HSEState = RCC_HSE_ON;
  RCC_OscInitStruct.HSEPredivValue = RCC_HSE_PREDIV_DIV2;
  RCC_OscInitStruct.HSIState = RCC_HSI_ON;
  RCC_OscInitStruct.LSIState = RCC_LSI_ON;
  RCC_OscInitStruct.PLL.PLLState = RCC_PLL_ON;
  RCC_OscInitStruct.PLL.PLLSource = RCC_PLLSOURCE_HSE;
  RCC_OscInitStruct.PLL.PLLMUL = RCC_PLL_MUL9;
  if (HAL_RCC_OscConfig(&RCC_OscInitStruct) != HAL_OK)
  {
    Error_Handler();
  }
  /** Initializes the CPU, AHB and APB buses clocks
  */
  RCC_ClkInitStruct.ClockType = RCC_CLOCKTYPE_HCLK|RCC_CLOCKTYPE_SYSCLK
                              |RCC_CLOCKTYPE_PCLK1|RCC_CLOCKTYPE_PCLK2;
  RCC_ClkInitStruct.SYSCLKSource = RCC_SYSCLKSOURCE_PLLCLK;
  RCC_ClkInitStruct.AHBCLKDivider = RCC_SYSCLK_DIV1;
  RCC_ClkInitStruct.APB1CLKDivider = RCC_HCLK_DIV2;
  RCC_ClkInitStruct.APB2CLKDivider = RCC_HCLK_DIV1;

  if (HAL_RCC_ClockConfig(&RCC_ClkInitStruct, FLASH_LATENCY_2) != HAL_OK)
  {
    Error_Handler();
  }
  /** Enables the Clock Security System
  */
  HAL_RCC_EnableCSS();
}

static void MX_I2C1_Init(void)
{

  hi2c1.Instance = I2C1;
  hi2c1.Init.ClockSpeed = 100000;
  hi2c1.Init.DutyCycle = I2C_DUTYCYCLE_2;
  hi2c1.Init.OwnAddress1 = 0;
  hi2c1.Init.AddressingMode = I2C_ADDRESSINGMODE_7BIT;
  hi2c1.Init.DualAddressMode = I2C_DUALADDRESS_DISABLE;
  hi2c1.Init.OwnAddress2 = 0;
  hi2c1.Init.GeneralCallMode = I2C_GENERALCALL_DISABLE;
  hi2c1.Init.NoStretchMode = I2C_NOSTRETCH_DISABLE;
  if (HAL_I2C_Init(&hi2c1) != HAL_OK)
  {
    Error_Handler();
  }

}

static void MX_IWDG_Init(void)
{

  hiwdg.Instance = IWDG;
  hiwdg.Init.Prescaler = IWDG_PRESCALER_256;
  hiwdg.Init.Reload = 4095;
  if (HAL_IWDG_Init(&hiwdg) != HAL_OK)
  {
    Error_Handler();
  }

}

static void MX_SDIO_SD_Init(void)
{

  hsd.Instance = SDIO;
  hsd.Init.ClockEdge = SDIO_CLOCK_EDGE_RISING;
  hsd.Init.ClockBypass = SDIO_CLOCK_BYPASS_DISABLE;
  hsd.Init.ClockPowerSave = SDIO_CLOCK_POWER_SAVE_DISABLE;
  hsd.Init.BusWide = SDIO_BUS_WIDE_1B;
  hsd.Init.HardwareFlowControl = SDIO_HARDWARE_FLOW_CONTROL_DISABLE;
  hsd.Init.ClockDiv = 7;

}

static void MX_USART2_UART_Init(void)
{

  huart2.Instance = USART2;
  huart2.Init.BaudRate = 9600;
  huart2.Init.WordLength = UART_WORDLENGTH_8B;
  huart2.Init.StopBits = UART_STOPBITS_1;
  huart2.Init.Parity = UART_PARITY_NONE;
  huart2.Init.Mode = UART_MODE_TX_RX;
  huart2.Init.HwFlowCtl = UART_HWCONTROL_NONE;
  huart2.Init.OverSampling = UART_OVERSAMPLING_16;
  if (HAL_UART_Init(&huart2) != HAL_OK)
  {
    Error_Handler();
  }

}

static void MX_DMA_Init(void)
{

  /* DMA controller clock enable */
  __HAL_RCC_DMA1_CLK_ENABLE();

  /* DMA interrupt init */
  /* DMA1_Channel6_IRQn interrupt configuration */
  HAL_NVIC_SetPriority(DMA1_Channel6_IRQn, 0, 0);
  HAL_NVIC_EnableIRQ(DMA1_Channel6_IRQn);
  /* DMA1_Channel7_IRQn interrupt configuration */
  HAL_NVIC_SetPriority(DMA1_Channel7_IRQn, 0, 0);
  HAL_NVIC_EnableIRQ(DMA1_Channel7_IRQn);

}

static void MX_GPIO_Init(void)
{
  GPIO_InitTypeDef GPIO_InitStruct = {0};

  /* GPIO Ports Clock Enable */
  __HAL_RCC_GPIOE_CLK_ENABLE();
  __HAL_RCC_GPIOC_CLK_ENABLE();
  __HAL_RCC_GPIOF_CLK_ENABLE();
  __HAL_RCC_GPIOA_CLK_ENABLE();
  __HAL_RCC_GPIOB_CLK_ENABLE();
  __HAL_RCC_GPIOG_CLK_ENABLE();
  __HAL_RCC_GPIOD_CLK_ENABLE();

  /*Configure GPIO pin Output Level */
  HAL_GPIO_WritePin(led_GPIO_Port, led_Pin, GPIO_PIN_RESET);

  /*Configure GPIO pin Output Level */
  HAL_GPIO_WritePin(simrst_GPIO_Port, simrst_Pin, GPIO_PIN_RESET);

  /*Configure GPIO pins : PE2 PE3 PE4 PE5
                           PE6 PE7 PE8 PE9
                           PE10 PE11 PE12 PE13
                           PE14 PE15 PE0 PE1 */
  GPIO_InitStruct.Pin = GPIO_PIN_2|GPIO_PIN_3|GPIO_PIN_4|GPIO_PIN_5
                          |GPIO_PIN_6|GPIO_PIN_7|GPIO_PIN_8|GPIO_PIN_9
                          |GPIO_PIN_10|GPIO_PIN_11|GPIO_PIN_12|GPIO_PIN_13
                          |GPIO_PIN_14|GPIO_PIN_15|GPIO_PIN_0|GPIO_PIN_1;
  GPIO_InitStruct.Mode = GPIO_MODE_ANALOG;
  HAL_GPIO_Init(GPIOE, &GPIO_InitStruct);

  /*Configure GPIO pins : PC13 PC14 PC15 PC1
                           PC2 PC3 PC4 PC5
                           PC6 PC7 PC9 PC10
                           PC11 */
  GPIO_InitStruct.Pin = GPIO_PIN_13|GPIO_PIN_14|GPIO_PIN_15|GPIO_PIN_1
                          |GPIO_PIN_2|GPIO_PIN_3|GPIO_PIN_4|GPIO_PIN_5
                          |GPIO_PIN_6|GPIO_PIN_7|GPIO_PIN_9|GPIO_PIN_10
                          |GPIO_PIN_11;
  GPIO_InitStruct.Mode = GPIO_MODE_ANALOG;
  HAL_GPIO_Init(GPIOC, &GPIO_InitStruct);

  /*Configure GPIO pins : PF0 PF1 PF2 PF3
                           PF4 PF5 PF6 PF7
                           PF8 PF9 PF10 PF11
                           PF12 PF13 PF14 PF15 */
  GPIO_InitStruct.Pin = GPIO_PIN_0|GPIO_PIN_1|GPIO_PIN_2|GPIO_PIN_3
                          |GPIO_PIN_4|GPIO_PIN_5|GPIO_PIN_6|GPIO_PIN_7
                          |GPIO_PIN_8|GPIO_PIN_9|GPIO_PIN_10|GPIO_PIN_11
                          |GPIO_PIN_12|GPIO_PIN_13|GPIO_PIN_14|GPIO_PIN_15;
  GPIO_InitStruct.Mode = GPIO_MODE_ANALOG;
  HAL_GPIO_Init(GPIOF, &GPIO_InitStruct);

  /*Configure GPIO pin : led_Pin */
  GPIO_InitStruct.Pin = led_Pin;
  GPIO_InitStruct.Mode = GPIO_MODE_OUTPUT_PP;
  GPIO_InitStruct.Pull = GPIO_NOPULL;
  GPIO_InitStruct.Speed = GPIO_SPEED_FREQ_HIGH;
  HAL_GPIO_Init(led_GPIO_Port, &GPIO_InitStruct);

  /*Configure GPIO pins : PA0 PA4 PA5 PA6
                           PA7 PA8 PA9 PA10
                           PA11 PA12 */
  GPIO_InitStruct.Pin = GPIO_PIN_0|GPIO_PIN_4|GPIO_PIN_5|GPIO_PIN_6
                          |GPIO_PIN_7|GPIO_PIN_8|GPIO_PIN_9|GPIO_PIN_10
                          |GPIO_PIN_11|GPIO_PIN_12;
  GPIO_InitStruct.Mode = GPIO_MODE_ANALOG;
  HAL_GPIO_Init(GPIOA, &GPIO_InitStruct);

  /*Configure GPIO pin : simrst_Pin */
  GPIO_InitStruct.Pin = simrst_Pin;
  GPIO_InitStruct.Mode = GPIO_MODE_OUTPUT_PP;
  GPIO_InitStruct.Pull = GPIO_PULLDOWN;
  GPIO_InitStruct.Speed = GPIO_SPEED_FREQ_HIGH;
  HAL_GPIO_Init(simrst_GPIO_Port, &GPIO_InitStruct);

  /*Configure GPIO pins : PB0 PB1 PB2 PB10
                           PB12 PB13 PB14 PB15
                           PB5 PB8 PB9 */
  GPIO_InitStruct.Pin = GPIO_PIN_0|GPIO_PIN_1|GPIO_PIN_2|GPIO_PIN_10
                          |GPIO_PIN_12|GPIO_PIN_13|GPIO_PIN_14|GPIO_PIN_15
                          |GPIO_PIN_5|GPIO_PIN_8|GPIO_PIN_9;
  GPIO_InitStruct.Mode = GPIO_MODE_ANALOG;
  HAL_GPIO_Init(GPIOB, &GPIO_InitStruct);

  /*Configure GPIO pins : PG0 PG1 PG2 PG3
                           PG4 PG5 PG6 PG7
                           PG8 PG9 PG10 PG11
                           PG12 PG13 PG14 PG15 */
  GPIO_InitStruct.Pin = GPIO_PIN_0|GPIO_PIN_1|GPIO_PIN_2|GPIO_PIN_3
                          |GPIO_PIN_4|GPIO_PIN_5|GPIO_PIN_6|GPIO_PIN_7
                          |GPIO_PIN_8|GPIO_PIN_9|GPIO_PIN_10|GPIO_PIN_11
                          |GPIO_PIN_12|GPIO_PIN_13|GPIO_PIN_14|GPIO_PIN_15;
  GPIO_InitStruct.Mode = GPIO_MODE_ANALOG;
  HAL_GPIO_Init(GPIOG, &GPIO_InitStruct);

  /*Configure GPIO pin : progmode_Pin */
  GPIO_InitStruct.Pin = progmode_Pin;
  GPIO_InitStruct.Mode = GPIO_MODE_INPUT;
  GPIO_InitStruct.Pull = GPIO_NOPULL;
  HAL_GPIO_Init(progmode_GPIO_Port, &GPIO_InitStruct);

  /*Configure GPIO pins : PD8 PD9 PD10 PD11
                           PD12 PD13 PD14 PD15
                           PD0 PD1 PD3 PD4
                           PD5 PD6 PD7 */
  GPIO_InitStruct.Pin = GPIO_PIN_8|GPIO_PIN_9|GPIO_PIN_10|GPIO_PIN_11
                          |GPIO_PIN_12|GPIO_PIN_13|GPIO_PIN_14|GPIO_PIN_15
                          |GPIO_PIN_0|GPIO_PIN_1|GPIO_PIN_3|GPIO_PIN_4
                          |GPIO_PIN_5|GPIO_PIN_6|GPIO_PIN_7;
  GPIO_InitStruct.Mode = GPIO_MODE_ANALOG;
  HAL_GPIO_Init(GPIOD, &GPIO_InitStruct);

}

void Error_Handler(void)
{
  __disable_irq();
  while (1)
  {
  }
}

/************************ (C) COPYRIGHT STMicroelectronics *****END OF FILE****/
